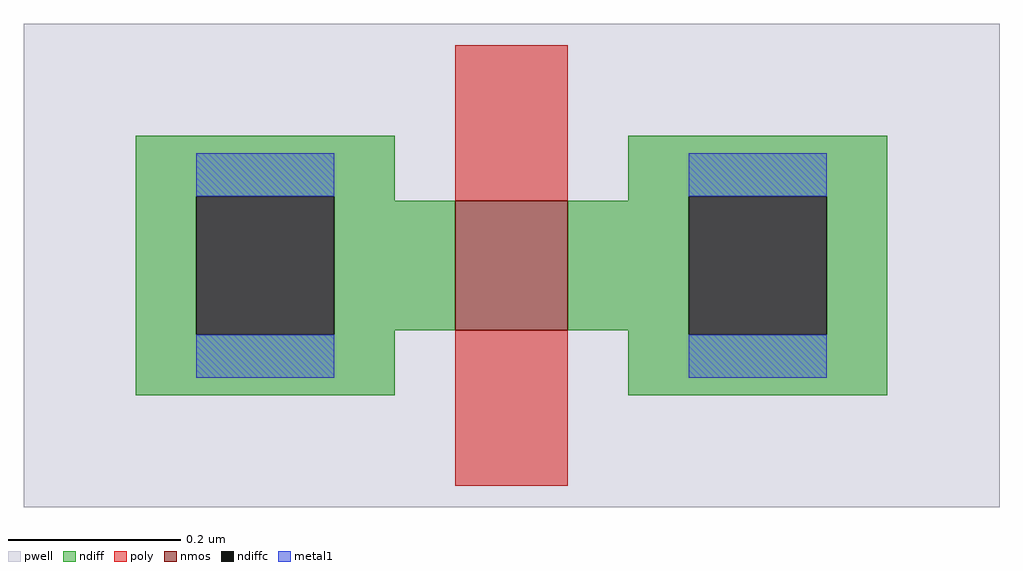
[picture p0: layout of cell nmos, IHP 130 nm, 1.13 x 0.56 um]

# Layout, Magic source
magic
tech ihp-sg13g2
magscale 1 2
<< pwell >>
rect -26 -26 200 86
<< nmos >>
rect 74 15 100 45
<< ndiff >>
rect 0 46 60 60
rect 0 14 14 46
rect 46 45 60 46
rect 114 46 174 60
rect 114 45 128 46
rect 46 15 74 45
rect 100 15 128 45
rect 46 14 60 15
rect 0 0 60 14
rect 114 14 128 15
rect 160 14 174 46
rect 114 0 174 14
<< ndiffc >>
rect 14 14 46 46
rect 128 14 160 46
<< poly >>
rect 74 45 100 81
rect 74 -21 100 15
<< metal1 >>
rect 14 46 46 56
rect 14 4 46 14
rect 128 46 160 56
rect 128 4 160 14
<< end >>
